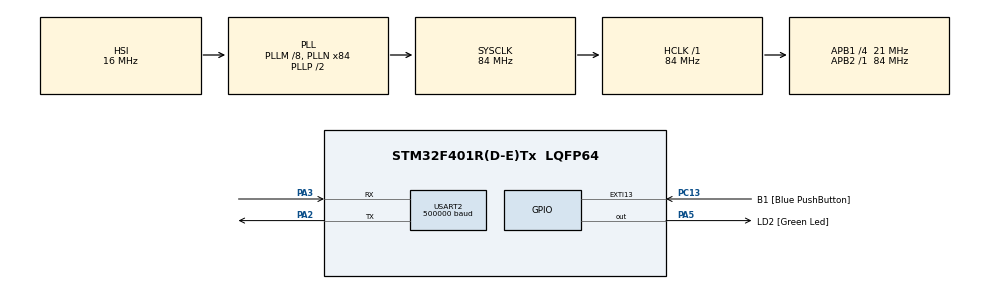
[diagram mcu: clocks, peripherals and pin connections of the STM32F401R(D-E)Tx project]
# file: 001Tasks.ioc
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Mcu.Family=STM32F4
Mcu.Name=STM32F401R(D-E)Tx
Mcu.Package=LQFP64
NVIC.PriorityGroup=NVIC_PRIORITYGROUP_4
NVIC.TIM2_IRQn=true\:0\:0\:false\:false\:true\:false\:true\:true
NVIC.TimeBase=TIM2_IRQn
NVIC.TimeBaseIP=TIM2
PA13.GPIO_Label=TMS
PA13.Mode=Serial_Wire
PA13.Signal=SYS_JTMS-SWDIO
PA14.GPIO_Label=TCK
PA14.Mode=Serial_Wire
PA14.Signal=SYS_JTCK-SWCLK
PA2.Mode=Asynchronous
PA2.Signal=USART2_TX
PA3.Mode=Asynchronous
PA3.Signal=USART2_RX
PA5.GPIO_Label=LD2 [Green Led]
PA5.GPIO_Mode=GPIO_MODE_OUTPUT_PP
PA5.GPIO_PuPd=GPIO_NOPULL
PA5.GPIO_Speed=GPIO_SPEED_FREQ_LOW
PA5.Signal=GPIO_Output
PB3.GPIO_Label=SWO
PB3.Signal=SYS_JTDO-SWO
PC13-ANTI_TAMP.GPIO_Label=B1 [Blue PushButton]
PC13-ANTI_TAMP.GPIO_ModeDefaultEXTI=GPIO_MODE_IT_FALLING
PC13-ANTI_TAMP.GPIO_PuPd=GPIO_NOPULL
PC13-ANTI_TAMP.Signal=GPXTI13
PC14-OSC32_IN.Mode=LSE-External-Oscillator
PC14-OSC32_IN.Signal=RCC_OSC32_IN
PC15-OSC32_OUT.Mode=LSE-External-Oscillator
PC15-OSC32_OUT.Signal=RCC_OSC32_OUT
PH0\ -\ OSC_IN.Mode=HSE-External-Clock-Source
PH0\ -\ OSC_IN.Signal=RCC_OSC_IN
PH1\ -\ OSC_OUT.Mode=HSE-External-Clock-Source
PH1\ -\ OSC_OUT.Signal=RCC_OSC_OUT
ProjectManager.HeapSize=0x200
ProjectManager.StackSize=0x400
ProjectManager.TargetToolchain=STM32CubeIDE
RCC.48MHZClocksFreq_Value=24000000
RCC.AHBFreq_Value=84000000
RCC.APB1CLKDivider=RCC_HCLK_DIV4
RCC.APB1Freq_Value=21000000
RCC.APB1TimFreq_Value=42000000
RCC.APB2Freq_Value=84000000
RCC.APB2TimFreq_Value=84000000
RCC.CortexFreq_Value=84000000
RCC.HCLKFreq_Value=84000000
RCC.HSE_VALUE=8000000
RCC.HSI_VALUE=16000000
RCC.PLLM=8
RCC.PLLN=84
RCC.PLLQ=7
RCC.SYSCLKFreq_VALUE=84000000
RCC.SYSCLKSource=RCC_SYSCLKSOURCE_PLLCLK
RCC.VCOOutputFreq_Value=168000000
USART2.BaudRate=500000
USART2.VirtualMode=VM_ASYNC
VP_SYS_VS_tim2.Mode=TIM2
board=NUCLEO-F401RE

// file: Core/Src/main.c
/* USER CODE BEGIN Header */
/**
  ******************************************************************************
  * @file           : main.c
  * @brief          : Main program body
  ******************************************************************************
  * @attention
  *
  * Copyright (c) 2025 STMicroelectronics.
  * All rights reserved.
  *
  * This software is licensed under terms that can be found in the LICENSE file
  * in the root directory of this software component.
  * If no LICENSE file comes with this software, it is provided AS-IS.
  *
  ******************************************************************************
  */
/* USER CODE END Header */
#include "main.h"

/* USER CODE BEGIN Includes */
#include <stdio.h>
#include "FreeRTOS.h"
#include "task.h"

/* USER CODE END Includes */

UART_HandleTypeDef huart2;

/* USER CODE BEGIN PV */

#define DWT_CTRL	(*(volatile uint32_t*)0xE0001000)

/* USER CODE END PV */

void SystemClock_Config(void);
static void MX_GPIO_Init(void);
static void MX_USART2_UART_Init(void);
/* USER CODE BEGIN PFP */
static void task1_handler(void* parameters);
static void task2_handler(void* parameters);

extern void SEGGER_UART_init(uint32_t);
/* USER CODE END PFP */

int main(void)
{

  /* USER CODE BEGIN 1 */
	TaskHandle_t task1_handle;
	TaskHandle_t task2_handle;

	BaseType_t status;
  /* USER CODE END 1 */

  /* MCU Configuration--------------------------------------------------------*/

  /* Reset of all peripherals, Initializes the Flash interface and the Systick. */
  HAL_Init();

  /* Configure the system clock */
  SystemClock_Config();

  /* Initialize all configured peripherals */
  MX_GPIO_Init();
  MX_USART2_UART_Init();
  /* USER CODE BEGIN 2 */

  SEGGER_UART_init(500000);

  //Enable CYCCNT Counter
  DWT_CTRL |= (1<<0);

  //SEGGER_UART_init(500000);

  //SEGGER_UART_init(500000);

  SEGGER_SYSVIEW_Conf();
  //SEGGER_SYSVIEW_Start();

  status = xTaskCreate(task1_handler, "Task-1", 200, "Hello word from task 1", 2, &task1_handle);
  configASSERT(status == pdPASS);

  status = xTaskCreate(task2_handler, "Task-2", 200, "Hello word from task 2", 2, &task2_handle);
  configASSERT(status == pdPASS);

  //start the freeRTOS schedular
  vTaskStartScheduler();

  /* USER CODE END 2 */

  /* Infinite loop */
  while (1)
  {

  }
}

void SystemClock_Config(void)
{
  RCC_OscInitTypeDef RCC_OscInitStruct = {0};
  RCC_ClkInitTypeDef RCC_ClkInitStruct = {0};

  /** Configure the main internal regulator output voltage
  */
  __HAL_RCC_PWR_CLK_ENABLE();
  __HAL_PWR_VOLTAGESCALING_CONFIG(PWR_REGULATOR_VOLTAGE_SCALE2);

  /** Initializes the RCC Oscillators according to the specified parameters
  * in the RCC_OscInitTypeDef structure.
  */
  RCC_OscInitStruct.OscillatorType = RCC_OSCILLATORTYPE_HSI;
  RCC_OscInitStruct.HSIState = RCC_HSI_ON;
  RCC_OscInitStruct.HSICalibrationValue = RCC_HSICALIBRATION_DEFAULT;
  RCC_OscInitStruct.PLL.PLLState = RCC_PLL_ON;
  RCC_OscInitStruct.PLL.PLLSource = RCC_PLLSOURCE_HSI;
  RCC_OscInitStruct.PLL.PLLM = 8;
  RCC_OscInitStruct.PLL.PLLN = 84;
  RCC_OscInitStruct.PLL.PLLP = RCC_PLLP_DIV2;
  RCC_OscInitStruct.PLL.PLLQ = 7;
  if (HAL_RCC_OscConfig(&RCC_OscInitStruct) != HAL_OK)
  {
    Error_Handler();
  }

  /** Initializes the CPU, AHB and APB buses clocks
  */
  RCC_ClkInitStruct.ClockType = RCC_CLOCKTYPE_HCLK|RCC_CLOCKTYPE_SYSCLK
                              |RCC_CLOCKTYPE_PCLK1|RCC_CLOCKTYPE_PCLK2;
  RCC_ClkInitStruct.SYSCLKSource = RCC_SYSCLKSOURCE_PLLCLK;
  RCC_ClkInitStruct.AHBCLKDivider = RCC_SYSCLK_DIV1;
  RCC_ClkInitStruct.APB1CLKDivider = RCC_HCLK_DIV4;
  RCC_ClkInitStruct.APB2CLKDivider = RCC_HCLK_DIV1;

  if (HAL_RCC_ClockConfig(&RCC_ClkInitStruct, FLASH_LATENCY_2) != HAL_OK)
  {
    Error_Handler();
  }
}

static void MX_USART2_UART_Init(void)
{

  huart2.Instance = USART2;
  huart2.Init.BaudRate = 500000;
  huart2.Init.WordLength = UART_WORDLENGTH_8B;
  huart2.Init.StopBits = UART_STOPBITS_1;
  huart2.Init.Parity = UART_PARITY_NONE;
  huart2.Init.Mode = UART_MODE_TX_RX;
  huart2.Init.HwFlowCtl = UART_HWCONTROL_NONE;
  huart2.Init.OverSampling = UART_OVERSAMPLING_16;
  if (HAL_UART_Init(&huart2) != HAL_OK)
  {
    Error_Handler();
  }

}

static void MX_GPIO_Init(void)
{
  GPIO_InitTypeDef GPIO_InitStruct = {0};

  /* GPIO Ports Clock Enable */
  __HAL_RCC_GPIOC_CLK_ENABLE();
  __HAL_RCC_GPIOH_CLK_ENABLE();
  __HAL_RCC_GPIOA_CLK_ENABLE();
  __HAL_RCC_GPIOB_CLK_ENABLE();

  /*Configure GPIO pin Output Level */
  HAL_GPIO_WritePin(LD2_GPIO_Port, LD2_Pin, GPIO_PIN_RESET);

  /*Configure GPIO pin : B1_Pin */
  GPIO_InitStruct.Pin = B1_Pin;
  GPIO_InitStruct.Mode = GPIO_MODE_IT_FALLING;
  GPIO_InitStruct.Pull = GPIO_NOPULL;
  HAL_GPIO_Init(B1_GPIO_Port, &GPIO_InitStruct);

  /*Configure GPIO pin : LD2_Pin */
  GPIO_InitStruct.Pin = LD2_Pin;
  GPIO_InitStruct.Mode = GPIO_MODE_OUTPUT_PP;
  GPIO_InitStruct.Pull = GPIO_NOPULL;
  GPIO_InitStruct.Speed = GPIO_SPEED_FREQ_LOW;
  HAL_GPIO_Init(LD2_GPIO_Port, &GPIO_InitStruct);

}

/* USER CODE BEGIN 4 */
static void task1_handler(void* parameters)
{
	char msg[100];
	while(1)
	{
		//snprintf(msg ,100, "%s\n", (char*)parameters);
		//SEGGER_SYSVIEW_PrintfTarget(msg);

		printf("%s\n", (char*)parameters);
		//taskYIELD();
	}

}

static void task2_handler(void* parameters)
{
	char msg[100];
	while(1)
	{
		//snprintf(msg ,100, "%s\n", (char*)parameters);
		//SEGGER_SYSVIEW_PrintfTarget(msg);

		printf("%s\n", (char*)parameters);
		//taskYIELD();
	}

}

/* USER CODE END 4 */

void HAL_TIM_PeriodElapsedCallback(TIM_HandleTypeDef *htim)
{
  if (htim->Instance == TIM2) {
    HAL_IncTick();
  }
}

void Error_Handler(void)
{
  __disable_irq();
  while (1)
  {
  }
}
